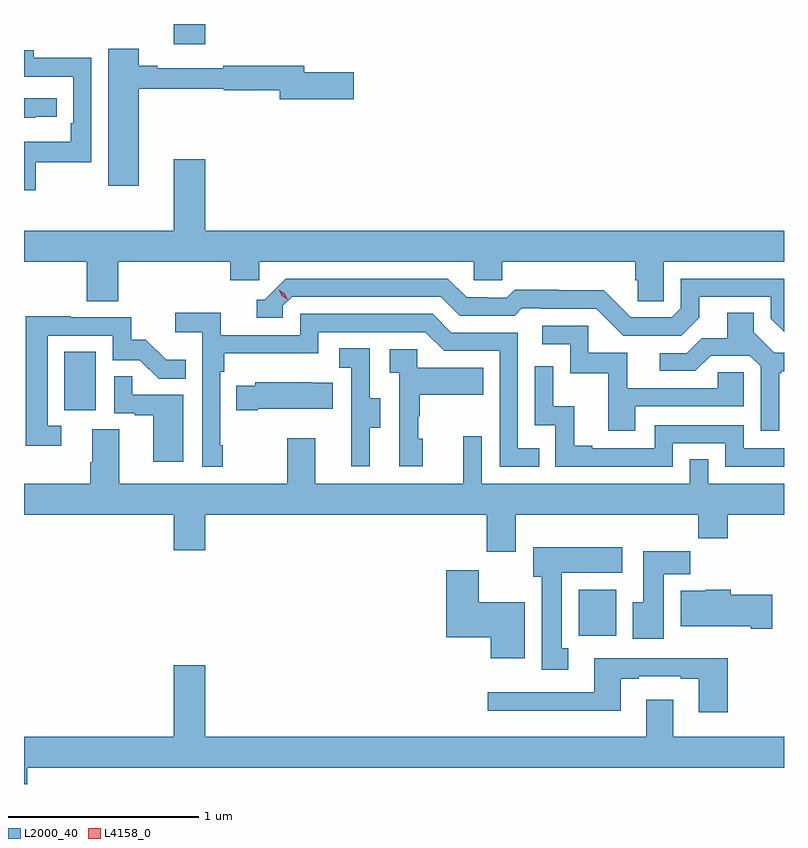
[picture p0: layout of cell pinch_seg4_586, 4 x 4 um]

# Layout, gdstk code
import gdstk
lib = gdstk.Library(unit=1e-6, precision=1e-09)
def R(c, l, rs):  # rectangles x0, y0, x1, y1
    for r in rs: c.add(gdstk.rectangle(r[:2], r[2:], *l))
def P(c, l, *ps):  # polygons
    for p in ps: c.add(gdstk.Polygon(p, *l))
L2000_40 = (2000, 40)
L4158_0 = (4158, 0)

pinch_seg4_586 = lib.new_cell('pinch_seg4_586')
R(pinch_seg4_586, L2000_40, [(1030.274,776.204,1030.471,776.446), (1027.568,777.39,1027.732,777.697), (1028.144,779.316,1028.308,779.423)])
P(pinch_seg4_586, L2000_40, [(1027.96,779.082),(1028.406,779.082),(1028.406,779.074),(1028.702,779.074),(1028.702,779.027),(1029.091,779.027),(1029.091,779.169),(1028.83,779.169),(1028.83,779.203),(1028.404,779.203),(1028.404,779.19),(1028.056,779.19),(1028.056,779.203),(1027.96,779.203),(1027.96,779.293),(1027.799,779.293),(1027.799,778.572),(1027.96,778.572)],
  [(1027.417,778.695),(1027.71,778.695),(1027.71,779.246),(1027.405,779.246),(1027.405,779.284),(1027.355,779.284),(1027.355,779.145),(1027.614,779.145),(1027.614,778.9),(1027.601,778.9),(1027.601,778.804),(1027.355,778.804),(1027.355,778.548),(1027.417,778.548)],
  [(1027.415,778.935),(1027.528,778.935),(1027.528,779.031),(1027.355,779.031),(1027.355,778.93),(1027.415,778.93)],
  [(1027.85,778.172),(1028.441,778.172),(1028.441,778.074),(1028.592,778.074),(1028.592,778.172),(1029.723,778.172),(1029.723,778.074),(1029.873,778.074),(1029.873,778.172),(1030.571,778.172),(1030.571,778.074),(1030.585,778.074),(1030.585,777.964),(1030.722,777.964),(1030.722,778.172),(1031.355,778.172),(1031.355,778.336),(1028.308,778.336),(1028.308,778.711),(1028.144,778.711),(1028.144,778.336),(1027.355,778.336),(1027.355,778.172),(1027.685,778.172),(1027.685,777.964),(1027.85,777.964)],
  [(1030.909,777.877),(1030.909,777.987),(1031.286,777.987),(1031.286,777.873),(1031.355,777.804),(1031.355,778.083),(1030.812,778.083),(1030.812,777.927),(1030.764,777.879),(1030.548,777.879),(1030.406,778.021),(1030.17,778.021),(1030.17,778.024),(1029.937,778.024),(1029.895,777.981),(1029.792,777.981),(1029.792,777.984),(1029.685,777.984),(1029.586,778.083),(1028.733,778.083),(1028.622,777.972),(1028.579,777.972),(1028.579,777.876),(1028.718,777.876),(1028.718,777.939),(1028.766,777.987),(1029.549,777.987),(1029.648,777.888),(1029.937,777.888),(1029.976,777.927),(1030.075,777.927),(1030.075,777.924),(1030.368,777.924),(1030.509,777.783),(1030.815,777.783)],
  [(1031.329,777.585),(1031.341,777.585),(1031.341,777.596),(1031.355,777.596),(1031.355,777.693),(1031.304,777.693),(1031.197,777.8),(1031.197,777.902),(1031.057,777.902),(1031.057,777.77),(1030.922,777.77),(1030.842,777.69),(1030.701,777.69),(1030.701,777.597),(1030.888,777.597),(1030.969,777.678),(1031.175,777.678),(1031.232,777.621),(1031.232,777.282),(1031.329,777.282)],
  [(1028.401,777.205),(1028.388,777.205),(1028.388,777.593),(1028.408,777.593),(1028.408,777.689),(1028.904,777.689),(1028.904,777.801),(1029.468,777.801),(1029.567,777.702),(1029.858,777.702),(1029.858,777.093),(1030.067,777.093),(1030.067,777.189),(1029.954,777.189),(1029.954,777.798),(1029.604,777.798),(1029.505,777.897),(1028.808,777.897),(1028.808,777.786),(1028.39,777.786),(1028.39,777.902),(1028.151,777.902),(1028.151,777.8),(1028.292,777.8),(1028.292,777.093),(1028.401,777.093)],
  [(1027.552,777.309),(1027.479,777.309),(1027.479,777.783),(1027.821,777.783),(1027.821,777.654),(1027.965,777.654),(1028.063,777.556),(1028.207,777.556),(1028.207,777.655),(1028.103,777.655),(1027.996,777.762),(1027.92,777.762),(1027.92,777.879),(1027.601,777.879),(1027.601,777.884),(1027.363,777.884),(1027.363,777.204),(1027.552,777.204)],
  [(1030.573,777.411),(1031.142,777.411),(1031.142,777.591),(1031.005,777.591),(1031.005,777.507),(1030.531,777.507),(1030.531,777.693),(1030.326,777.693),(1030.326,777.834),(1030.083,777.834),(1030.083,777.738),(1030.23,777.738),(1030.23,777.585),(1030.429,777.585),(1030.429,777.282),(1030.573,777.282)],
  [(1029.175,777.298),(1029.229,777.298),(1029.229,777.453),(1029.174,777.453),(1029.174,777.716),(1029.015,777.716),(1029.015,777.613),(1029.078,777.613),(1029.078,777.309),(1029.077,777.309),(1029.077,777.096),(1029.175,777.096)],
  [(1029.454,777.24),(1029.429,777.24),(1029.429,777.359),(1029.439,777.359),(1029.439,777.473),(1029.773,777.473),(1029.773,777.613),(1029.426,777.613),(1029.426,777.711),(1029.279,777.711),(1029.279,777.587),(1029.33,777.587),(1029.33,777.096),(1029.454,777.096)],
  [(1030.77,777.216),(1031.046,777.216),(1031.046,777.093),(1031.355,777.093),(1031.355,777.189),(1031.142,777.189),(1031.142,777.312),(1030.674,777.312),(1030.674,777.189),(1030.345,777.189),(1030.345,777.202),(1030.25,777.202),(1030.25,777.41),(1030.14,777.41),(1030.14,777.622),(1030.044,777.622),(1030.044,777.312),(1030.152,777.312),(1030.152,777.093),(1030.77,777.093)],
  [(1028.194,777.471),(1027.925,777.471),(1027.925,777.569),(1027.83,777.569),(1027.83,777.375),(1027.937,777.375),(1027.937,777.363),(1028.036,777.363),(1028.036,777.12),(1028.194,777.12)],
  [(1028.584,777.398),(1028.981,777.398),(1028.981,777.535),(1028.873,777.535),(1028.873,777.538),(1028.571,777.538),(1028.571,777.52),(1028.473,777.52),(1028.473,777.391),(1028.584,777.391)],
  [(1029.943,776.84),(1030.903,776.84),(1030.903,776.716),(1031.06,776.716),(1031.06,776.84),(1031.355,776.84),(1031.355,777.004),(1030.956,777.004),(1030.956,777.131),(1030.86,777.131),(1030.86,777.004),(1029.765,777.004),(1029.765,777.253),(1029.668,777.253),(1029.668,777.004),(1028.887,777.004),(1028.887,777.244),(1028.74,777.244),(1028.74,777.004),(1027.855,777.004),(1027.855,777.29),(1027.715,777.29),(1027.715,777.116),(1027.703,777.116),(1027.703,777.004),(1027.355,777.004),(1027.355,776.84),(1028.144,776.84),(1028.144,776.652),(1028.308,776.652),(1028.308,776.84),(1029.791,776.84),(1029.791,776.646),(1029.943,776.646)],
  [(1030.219,776.138),(1030.186,776.138),(1030.186,776.534),(1030.504,776.534),(1030.504,776.668),(1030.034,776.668),(1030.034,776.514),(1030.079,776.514),(1030.079,776.025),(1030.219,776.025)],
  [(1030.723,776.528),(1030.862,776.528),(1030.862,776.647),(1030.613,776.647),(1030.613,776.38),(1030.559,776.38),(1030.559,776.187),(1030.723,776.187)],
  [(1029.991,776.38),(1029.748,776.38),(1029.748,776.548),(1029.578,776.548),(1029.578,776.195),(1029.812,776.195),(1029.812,776.084),(1029.991,776.084)],
  [(1031.293,776.418),(1031.075,776.418),(1031.075,776.446),(1030.944,776.446),(1030.944,776.44),(1030.811,776.44),(1030.811,776.252),(1031.18,776.252),(1031.18,776.24),(1031.293,776.24)],
  [(1031.06,776.086),(1030.819,776.086),(1030.819,776.085),(1030.355,776.085),(1030.355,775.905),(1029.795,775.905),(1029.795,775.808),(1030.495,775.808),(1030.495,775.977),(1030.591,775.977),(1030.591,775.989),(1030.811,775.989),(1030.811,775.977),(1030.907,775.977),(1030.907,775.8),(1031.06,775.8)],
  [(1027.373,775.508),(1031.355,775.508),(1031.355,775.672),(1030.771,775.672),(1030.771,775.867),(1030.631,775.867),(1030.631,775.672),(1028.308,775.672),(1028.308,776.047),(1028.144,776.047),(1028.144,775.672),(1027.355,775.672),(1027.355,775.423),(1027.373,775.423)])
P(pinch_seg4_586, L4158_0, [(1028.742,777.973),(1028.711,777.992),(1028.695,778.025),(1028.695,778.025),(1028.695,778.025),(1028.726,778.006),(1028.742,777.973),(1028.742,777.973)])

lib.write_gds('pinch_seg4_586.gds')
